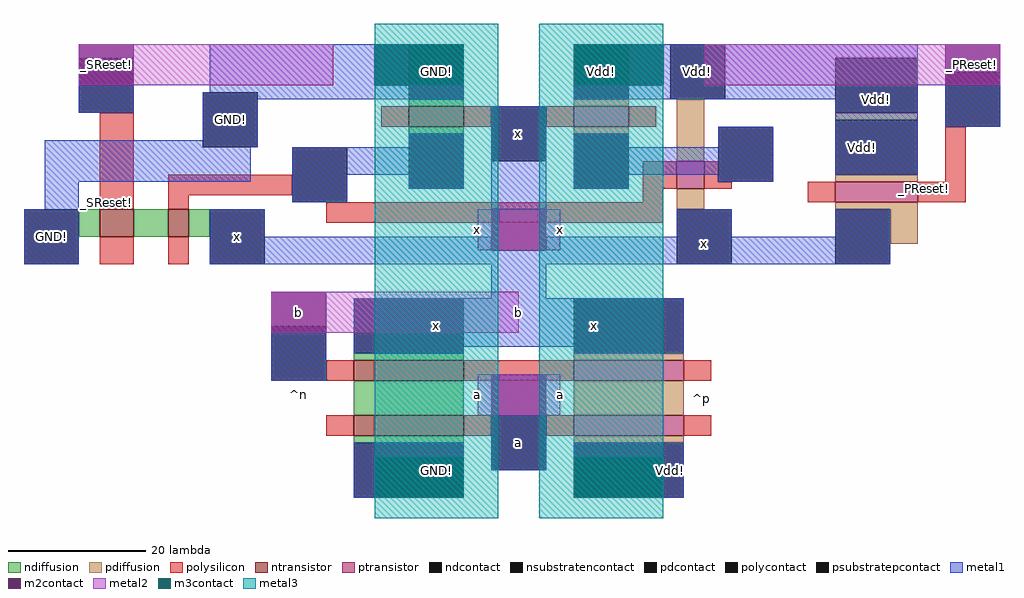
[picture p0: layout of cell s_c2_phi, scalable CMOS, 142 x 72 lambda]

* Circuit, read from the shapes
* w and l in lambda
.subckt s_c2_phi GND! Vdd! _PReset! _SReset! a b x
M1 n1 _SReset! GND! GND! nfet w=4 l=5
M2 x n2 n1 GND! nfet w=4 l=3
M3 n3 a GND! GND! nfet w=16 l=3
M4 x b n3 GND! nfet w=16 l=3
M5 GND! x n2 GND! nfet w=8 l=3
M6 n4 a Vdd! Vdd! pfet w=16 l=3
M7 x b n4 Vdd! pfet w=16 l=3
M8 Vdd! x n2 Vdd! pfet w=8 l=3
M9 Vdd! n2 x Vdd! pfet w=4 l=4
M10 Vdd! _PReset! x Vdd! pfet w=12 l=3
.ends

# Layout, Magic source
magic
tech scmos
<< ndiffusion >>
rect -16 142 -8 143
rect -16 138 -8 139
rect -64 123 -61 127
rect -56 123 -51 127
rect -48 123 -45 127
rect -24 105 -8 106
rect -24 97 -8 102
rect -24 93 -8 94
<< pdiffusion >>
rect 8 142 16 143
rect 8 138 16 139
rect 23 134 27 143
rect 46 140 58 141
rect 46 131 58 132
rect 23 127 27 130
rect 46 127 58 128
rect 54 122 58 127
rect 8 105 24 106
rect 8 97 24 102
rect 8 93 24 94
<< ntransistor >>
rect -16 139 -8 142
rect -61 123 -56 127
rect -51 123 -48 127
rect -24 102 -8 105
rect -24 94 -8 97
<< ptransistor >>
rect 8 139 16 142
rect 23 130 27 134
rect 46 128 58 131
rect 8 102 24 105
rect 8 94 24 97
<< polysilicon >>
rect -61 127 -56 141
rect -20 139 -16 142
rect -8 139 -4 142
rect -51 129 -33 132
rect -51 127 -48 129
rect 4 139 8 142
rect 16 139 20 142
rect 18 130 23 134
rect 27 131 29 134
rect 62 131 65 139
rect 27 130 31 131
rect 18 128 21 130
rect -61 119 -56 123
rect -51 119 -48 123
rect -28 125 21 128
rect 42 128 46 131
rect 58 128 65 131
rect -28 102 -24 105
rect -8 102 8 105
rect 24 102 28 105
rect -28 94 -24 97
rect -8 94 -4 97
rect 4 94 8 97
rect 24 94 28 97
<< ndcontact >>
rect -16 143 -8 151
rect -16 130 -8 138
rect -72 119 -64 127
rect -45 119 -37 127
rect -24 106 -8 114
rect -24 85 -8 93
<< pdcontact >>
rect 8 143 16 151
rect 22 143 30 151
rect 8 130 16 138
rect 46 132 58 140
rect 23 119 31 127
rect 46 119 54 127
rect 8 106 24 114
rect 8 85 24 93
<< psubstratepcontact >>
rect -46 136 -38 144
<< nsubstratencontact >>
rect 46 141 58 149
<< polycontact >>
rect -64 141 -56 149
rect -33 128 -25 136
rect -4 134 4 142
rect 29 131 37 139
rect 62 139 70 147
rect -36 102 -28 110
rect -4 89 4 97
<< metal1 >>
rect -64 141 -56 145
rect -45 145 -21 151
rect -45 144 -8 145
rect -46 143 -8 144
rect 21 145 58 151
rect 8 143 58 145
rect -46 137 -38 143
rect -69 136 -38 137
rect -16 136 -8 138
rect -69 131 -39 136
rect -33 132 -8 136
rect -69 127 -64 131
rect -33 128 -25 132
rect -16 130 -8 132
rect -4 127 4 142
rect 8 136 16 138
rect 29 136 37 139
rect 8 132 37 136
rect 46 132 58 143
rect 62 139 70 145
rect 8 130 16 132
rect 29 131 37 132
rect -72 119 -64 127
rect -45 123 -37 127
rect -45 121 -4 123
rect 23 123 31 127
rect 46 123 54 127
rect 4 121 54 123
rect -45 119 54 121
rect -4 114 4 119
rect -36 102 -28 109
rect -24 107 24 114
rect -24 106 -8 107
rect 8 106 24 107
rect -24 91 -8 93
rect -24 85 -21 91
rect -4 89 4 97
rect 8 91 24 93
rect 21 85 24 91
<< m2contact >>
rect -64 145 -56 151
rect -21 145 -8 151
rect 8 145 21 151
rect 62 145 70 151
rect -4 121 4 127
rect -36 109 -28 115
rect -4 97 4 103
rect -21 85 -8 91
rect 8 85 21 91
<< metal2 >>
rect -64 145 -27 151
rect 27 145 70 151
rect -6 121 6 127
rect -36 109 0 115
rect -6 97 6 103
<< m3contact >>
rect -21 145 -8 151
rect 8 145 21 151
rect -21 85 -8 91
rect 8 85 21 91
<< metal3 >>
rect -21 82 -3 154
rect 3 82 21 154
<< labels >>
rlabel m2contact -12 89 -12 89 1 GND!
rlabel metal1 -12 110 -12 110 5 x
rlabel metal1 22 89 22 89 1 Vdd!
rlabel metal2 -6 97 -6 103 3 a
rlabel metal2 6 97 6 103 7 a
rlabel metal2 0 109 0 115 7 b
rlabel space 24 85 29 114 3 ^p
rlabel space -40 84 -24 116 7 ^n
rlabel metal2 -32 112 -32 112 1 b
rlabel metal1 0 93 0 93 1 a
rlabel metal1 26 147 26 147 5 Vdd!
rlabel metal1 -68 123 -68 123 3 GND!
rlabel polysilicon -60 128 -60 128 3 _SReset!
rlabel metal1 27 122 27 122 5 x
rlabel metal1 -41 123 -41 123 3 x
rlabel metal2 -60 148 -60 148 5 _SReset!
rlabel ndcontact -12 147 -12 147 5 GND!
rlabel pdcontact 12 147 12 147 5 Vdd!
rlabel metal1 11 110 11 110 5 x
rlabel metal2 -6 121 -6 127 3 x
rlabel metal2 6 121 6 127 7 x
rlabel metal1 0 138 0 138 1 x
rlabel metal1 -42 140 -42 140 1 GND!
rlabel metal1 50 136 50 136 6 Vdd!
rlabel polysilicon 59 130 59 130 7 _PReset!
rlabel metal2 66 148 66 148 5 _PReset!
rlabel metal1 52 143 52 143 1 Vdd!
<< end >>
